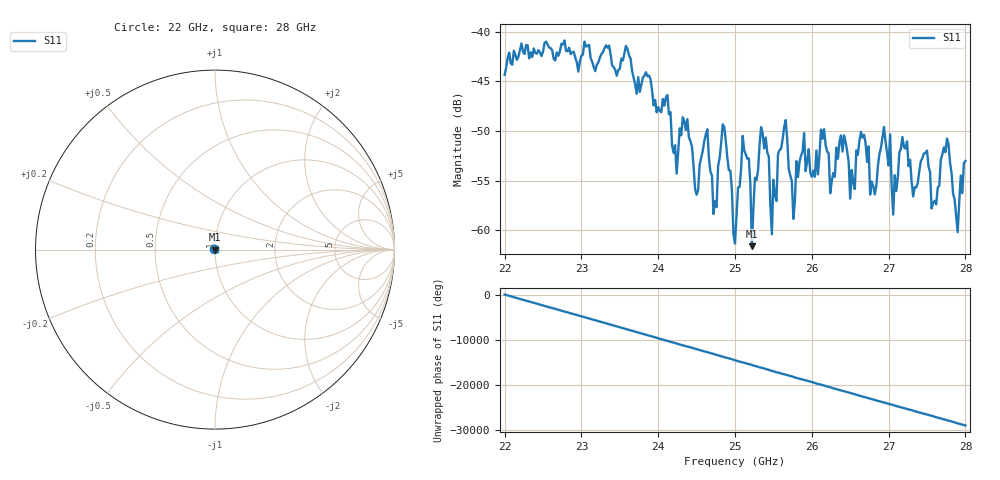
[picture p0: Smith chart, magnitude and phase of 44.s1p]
#  HZ  S  RI  R  50.00
! Rohde & Schwarz ZVA40 4Ports - Version 3.90 - 1145.1110k42 SN: 100403
! Date: 2023-10-04 06:21:35
! Measurement: S12
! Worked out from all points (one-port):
!   301 points, 22 GHz to 28 GHz, reference 50 ohm
!   lowest |S11| = -61.6 dB at 25.22 GHz (marker M1), VSWR 1.00, Z = 50 - j0.0832 ohm
!   |S11| at or under -10 dB: start of sweep to end of sweep
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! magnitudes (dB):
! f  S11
! 22 GHz  -44.3
! 22.76 GHz  -41.3
! 23.5 GHz  -43.7
! 24.26 GHz  -52.1
! 24.5 GHz  -56.4
! 24.64 GHz  -49.8
! 24.72 GHz  -58.3
! 24.84 GHz  -49.3
! 25 GHz  -61.3
! 25.1 GHz  -50.5
! 25.22 GHz  -61.6
! 25.34 GHz  -49.6
! 25.48 GHz  -60.4
! 25.66 GHz  -48.9
! 25.76 GHz  -58.8
! 25.9 GHz  -50.2
! 26.24 GHz  -56.3
! 26.42 GHz  -50.4
! 26.5 GHz  -56.8
! 26.64 GHz  -50.1
! 26.76 GHz  -56.4
! 27.02 GHz  -50.3
! 27.06 GHz  -58.4
! 27.26 GHz  -53.5
! 27.56 GHz  -57.8
! 27.76 GHz  -50.8
! 27.9 GHz  -60.2
! 28 GHz  -53.0
